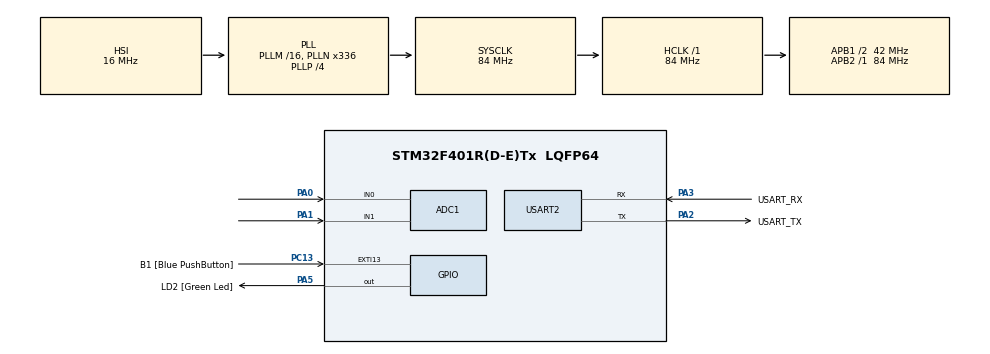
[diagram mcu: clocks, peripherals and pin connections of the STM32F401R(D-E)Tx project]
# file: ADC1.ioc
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ADC1.Channel-3\#ChannelRegularConversion=ADC_CHANNEL_0
ADC1.Channel-4\#ChannelRegularConversion=ADC_CHANNEL_1
ADC1.NbrOfConversion=2
ADC1.NbrOfConversionFlag=1
ADC1.Rank-3\#ChannelRegularConversion=1
ADC1.Rank-4\#ChannelRegularConversion=2
ADC1.SamplingTime-3\#ChannelRegularConversion=ADC_SAMPLETIME_3CYCLES
ADC1.SamplingTime-4\#ChannelRegularConversion=ADC_SAMPLETIME_3CYCLES
ADC1.master=1
Mcu.Family=STM32F4
Mcu.Name=STM32F401R(D-E)Tx
Mcu.Package=LQFP64
NVIC.PriorityGroup=NVIC_PRIORITYGROUP_0
NVIC.TIM2_IRQn=true\:0\:0\:false\:false\:true\:true\:true\:true
PA0-WKUP.Signal=ADCx_IN0
PA1.Signal=ADCx_IN1
PA13.GPIO_Label=TMS
PA13.Signal=SYS_JTMS-SWDIO
PA14.GPIO_Label=TCK
PA14.Signal=SYS_JTCK-SWCLK
PA2.GPIO_Label=USART_TX
PA2.GPIO_Mode=GPIO_MODE_AF_PP
PA2.GPIO_PuPd=GPIO_NOPULL
PA2.GPIO_Speed=GPIO_SPEED_FREQ_LOW
PA2.Mode=Asynchronous
PA2.Signal=USART2_TX
PA3.GPIO_Label=USART_RX
PA3.GPIO_Mode=GPIO_MODE_AF_PP
PA3.GPIO_PuPd=GPIO_NOPULL
PA3.GPIO_Speed=GPIO_SPEED_FREQ_LOW
PA3.Mode=Asynchronous
PA3.Signal=USART2_RX
PA5.GPIO_Label=LD2 [Green Led]
PA5.GPIO_Mode=GPIO_MODE_OUTPUT_PP
PA5.GPIO_PuPd=GPIO_NOPULL
PA5.GPIO_Speed=GPIO_SPEED_FREQ_LOW
PA5.Signal=GPIO_Output
PA7.Signal=ADCx_IN7
PB3.GPIO_Label=SWO
PB3.Signal=SYS_JTDO-SWO
PC13-ANTI_TAMP.GPIO_Label=B1 [Blue PushButton]
PC13-ANTI_TAMP.GPIO_ModeDefaultEXTI=GPIO_MODE_IT_FALLING
PC13-ANTI_TAMP.GPIO_PuPd=GPIO_NOPULL
PC13-ANTI_TAMP.Signal=GPXTI13
PC14-OSC32_IN.Mode=LSE-External-Oscillator
PC14-OSC32_IN.Signal=RCC_OSC32_IN
PC15-OSC32_OUT.Mode=LSE-External-Oscillator
PC15-OSC32_OUT.Signal=RCC_OSC32_OUT
PC4.Signal=ADCx_IN14
PH0\ -\ OSC_IN.Mode=HSE-External-Oscillator
PH0\ -\ OSC_IN.Signal=RCC_OSC_IN
PH1\ -\ OSC_OUT.Mode=HSE-External-Oscillator
PH1\ -\ OSC_OUT.Signal=RCC_OSC_OUT
ProjectManager.HeapSize=0x800
ProjectManager.StackSize=0x800
ProjectManager.TargetToolchain=STM32CubeIDE
RCC.AHBFreq_Value=84000000
RCC.APB1CLKDivider=RCC_HCLK_DIV2
RCC.APB1Freq_Value=42000000
RCC.APB1TimFreq_Value=84000000
RCC.APB2Freq_Value=84000000
RCC.APB2TimFreq_Value=84000000
RCC.CortexFreq_Value=84000000
RCC.HCLKFreq_Value=84000000
RCC.HSE_VALUE=8000000
RCC.HSI_VALUE=16000000
RCC.PLLN=336
RCC.PLLP=RCC_PLLP_DIV4
RCC.PLLQ=7
RCC.SYSCLKFreq_VALUE=84000000
RCC.SYSCLKSource=RCC_SYSCLKSOURCE_PLLCLK
RCC.VCOOutputFreq_Value=336000000
SH.ADCx_IN0.0=ADC1_IN0,IN0
SH.ADCx_IN1.0=ADC1_IN1,IN1
SH.ADCx_IN14.0=ADC1_IN14
SH.ADCx_IN7.0=ADC1_IN7
STMicroelectronics.X-CUBE-AI.9.0.0.ActivationBufferSizeList=3248
STMicroelectronics.X-CUBE-AI.9.0.0.ActivationBuffers=pool0
STMicroelectronics.X-CUBE-AI.9.0.0.ActivationNames=pool0
STMicroelectronics.X-CUBE-AI.9.0.0.ActivationSizes=AI_NETWORK_DATA_ACTIVATION_1_SIZE
STMicroelectronics.X-CUBE-AI.9.0.0.ApplicationCcDeviceJjApplication=ApplicationTemplate
STMicroelectronics.X-CUBE-AI.9.0.0.HeapSize=0x800
STMicroelectronics.X-CUBE-AI.9.0.0.InternalRamActivationBufferMaxSize=AI_NETWORK_DATA_ACTIVATIONS_SIZE
STMicroelectronics.X-CUBE-AI.9.0.0.LatestDirectoryUsed-1c9fd46893779840c356a048ed1474132c672592979c30f187648ef88671feb3=C\:\\Users\\aless\\Downloads
STMicroelectronics.X-CUBE-AI.9.0.0.MaximumNumberOfInputLayer=1
STMicroelectronics.X-CUBE-AI.9.0.0.MaximumNumberOfOutputLayer=1
STMicroelectronics.X-CUBE-AI.9.0.0.MaximumSizeOfInputLayer=1
STMicroelectronics.X-CUBE-AI.9.0.0.MaximumSizeOfOutputLayer=1
STMicroelectronics.X-CUBE-AI.9.0.0.ModelActualCompression-1c9fd46893779840c356a048ed1474132c672592979c30f187648ef88671feb3=0.0
STMicroelectronics.X-CUBE-AI.9.0.0.ModelCompression-1c9fd46893779840c356a048ed1474132c672592979c30f187648ef88671feb3=None
STMicroelectronics.X-CUBE-AI.9.0.0.ModelFlashOccupation-1c9fd46893779840c356a048ed1474132c672592979c30f187648ef88671feb3=81668
STMicroelectronics.X-CUBE-AI.9.0.0.ModelHashList=1c9fd46893779840c356a048ed1474132c672592979c30f187648ef88671feb3
STMicroelectronics.X-CUBE-AI.9.0.0.ModelKind-1c9fd46893779840c356a048ed1474132c672592979c30f187648ef88671feb3=KERAS
STMicroelectronics.X-CUBE-AI.9.0.0.ModelMacc-1c9fd46893779840c356a048ed1474132c672592979c30f187648ef88671feb3=20555
STMicroelectronics.X-CUBE-AI.9.0.0.ModelName-1c9fd46893779840c356a048ed1474132c672592979c30f187648ef88671feb3=network
STMicroelectronics.X-CUBE-AI.9.0.0.ModelNameList=network
STMicroelectronics.X-CUBE-AI.9.0.0.ModelRamOccupation-1c9fd46893779840c356a048ed1474132c672592979c30f187648ef88671feb3=1264
STMicroelectronics.X-CUBE-AI.9.0.0.ModelStructureFile-1c9fd46893779840c356a048ed1474132c672592979c30f187648ef88671feb3=C\:\\Users\\aless\\Downloads\\modelR.h5
STMicroelectronics.X-CUBE-AI.9.0.0.ModelType-1c9fd46893779840c356a048ed1474132c672592979c30f187648ef88671feb3=STM32Cube.AI MCU runtime
STMicroelectronics.X-CUBE-AI.9.0.0.ReadyForCodeGeneration=true
STMicroelectronics.X-CUBE-AI.9.0.0.StackSize=0x800
STMicroelectronics.X-CUBE-AI.9.0.0.WorkingBufferStartAddrList=0xFFFFFFFF
STMicroelectronics.X-CUBE-AI.9.0.0.XAaCUBEAaAICcArtificialOoIntelligenceJjCore=true
STMicroelectronics.X-CUBE-AI.9.0.0.copyWeightToRam-1c9fd46893779840c356a048ed1474132c672592979c30f187648ef88671feb3=false
STMicroelectronics.X-CUBE-AI.9.0.0.customLayerConfigEnabled-1c9fd46893779840c356a048ed1474132c672592979c30f187648ef88671feb3=false
STMicroelectronics.X-CUBE-AI.9.0.0.noOnnxIoTranspose-1c9fd46893779840c356a048ed1474132c672592979c30f187648ef88671feb3=false
STMicroelectronics.X-CUBE-AI.9.0.0.useInputAllocation-1c9fd46893779840c356a048ed1474132c672592979c30f187648ef88671feb3=true
STMicroelectronics.X-CUBE-AI.9.0.0.useOutputAllocation-1c9fd46893779840c356a048ed1474132c672592979c30f187648ef88671feb3=true
TIM2.Prescaler=999
USART2.VirtualMode=VM_ASYNC
VP_STMicroelectronics.X-CUBE-AI_VS_ArtificialOoIntelligenceJjXAaCUBEAaAI_9.0.0.Mode=ArtificialOoIntelligenceJjXAaCUBEAaAI
VP_STMicroelectronics.X-CUBE-AI_VS_DeviceJjApplication_9.0.0.Mode=DeviceJjApplication
VP_TIM2_VS_ClockSourceINT.Mode=Internal
board=NUCLEO-F401RE

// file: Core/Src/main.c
/* USER CODE BEGIN Header */
/**
  ******************************************************************************
  * @file           : main.c
  * @brief          : Main program body
  ******************************************************************************
  * @attention
  *
  * Copyright (c) 2024 STMicroelectronics.
  * All rights reserved.
  *
  * This software is licensed under terms that can be found in the LICENSE file
  * in the root directory of this software component.
  * If no LICENSE file comes with this software, it is provided AS-IS.
  *
  ******************************************************************************
  */
/* USER CODE END Header */
#include "main.h"
#include "app_x-cube-ai.h"
#include <math.h> // Per funzioni matematiche come log()

/* USER CODE BEGIN Includes */
#define DATA_SIZE 974 // Dimensione dell'array dei dati
#define UART_TIMEOUT 1000  // Timeout per la trasmissione UART

float mean3[974]={};
float mean5[974]={};
float diff[974]={};
float loggg[974]={};
float mean3_1[974]={};
float mean5_1[974]={};
float diff_1[974]={};
float loggg_1[974]={};
float calculateSkewness(uint16_t data[], int size, float mean, float stddev);
float calculateKurtosis(uint16_t data[], int size, float mean, float stddev);
int v;
/* USER CODE END Includes */

/* USER CODE BEGIN PM */
// Funzione per calcolare la skewness
float calculateSkewness(uint16_t data[], int size, float mean, float stddev)
{
    float skew = 0.0;
    for (int i = 0; i < size; ++i)
    {
        skew += pow((data[i] - mean) / stddev, 3);
    }
    return skew / size;
}

// Funzione per calcolare la kurtosis
float calculateKurtosis(uint16_t data[], int size, float mean, float stddev)
{
    float kurt = 0.0;
    for (int i = 0; i < size; ++i)
    {
        kurt += pow((data[i] - mean) / stddev, 4);
    }
    return kurt / size;
}
void calculateMovingAverage(uint16_t data[], int size, int window, float result[])
{
    for (int i = 0; i < size; ++i)
    {
        if (i < window - 1)
        {
            result[i] = 0.0;  // Valori iniziali non calcolabili
        }
        else
        {
            float sum = 0.0;
            for (int j = i - window + 1; j <= i; ++j)
            {
                sum += data[j];
            }
            result[i] = sum / window;
        }
    }
}

// Funzione per calcolare le differenze
void calculateDifference(uint16_t data[], int size, float result[])
{
    result[0] = 0.0;  // Prima differenza non calcolabile
    for (int i = 1; i < size; ++i)
    {
        result[i] = data[i] - data[i - 1];
    }
}

// Funzione per calcolare la trasformazione logaritmica
void calculateLogTransformation(uint16_t data[], int size, float result[])
{
    for (int i = 0; i < size; ++i)
    {
        if (data[i] > 0)
        {
            result[i] = log(data[i]);
        }
        else
        {
            result[i] = 0.0;  // Gestione dei valori non positivi
        }
    }
}

/* USER CODE END PM */

ADC_HandleTypeDef hadc1;

TIM_HandleTypeDef htim2;

UART_HandleTypeDef huart2;

void SystemClock_Config(void);
static void MX_GPIO_Init(void);
static void MX_ADC1_Init(void);
static void MX_USART2_UART_Init(void);
static void MX_TIM2_Init(void);

int main(void)
{
  /* USER CODE BEGIN 1 */

uint8_t buffertx[5];
uint8_t buffertx2[6];
uint8_t buffertx3[4];
//unsigned int uiAnalogData=0;
unsigned int PPG_Value=0;
/*
int cont=0;
int c=0;
int tempo=0;
float tempo1=0;
int BPM=0;
*/
uint16_t uiAnalogData[DATA_SIZE]; // Array per memorizzare i dati
    // Altre variabili necessarie
	float sum, mean, variance, stddev, skewness, kurtosis;
    uint16_t min = UINT16_MAX, max = 0;
    // Array per le nuove feature
        float movingAvg3[DATA_SIZE], movingAvg5[DATA_SIZE];
        float differences[DATA_SIZE], logTransformed[DATA_SIZE];

        int dataCount = 0;  // Contatore per tracciare i dati inseriti

  /* USER CODE END 1 */

  /* MCU Configuration--------------------------------------------------------*/

  /* Reset of all peripherals, Initializes the Flash interface and the Systick. */
  HAL_Init();

  /* Configure the system clock */
  SystemClock_Config();

  /* Initialize all configured peripherals */
  MX_GPIO_Init();
  MX_ADC1_Init();
  MX_USART2_UART_Init();
  MX_TIM2_Init();
  MX_X_CUBE_AI_Init();
  /* USER CODE BEGIN 2 */
  HAL_TIM_Base_Start_IT(&htim2);
  /* USER CODE END 2 */

  /* Infinite loop */
  while (1)
  {

 // MX_X_CUBE_AI_Process();
    /* USER CODE BEGIN 3 */

	  sum = 0.0;  // Reinizializza la somma
	  variance = 0.0;  // Reinizializza la varianza

	  while (dataCount < DATA_SIZE)
	     {
	  	HAL_ADC_Start(&hadc1);
	  	HAL_ADC_PollForConversion(&hadc1,1000);
	  	HAL_ADC_ConfigChannel(&hadc1, 0);
	  	uiAnalogData[dataCount]=HAL_ADC_GetValue(&hadc1);
	  	HAL_ADC_Stop(&hadc1);
	  	// Aggiornamento minimo e massimo
	  	if (uiAnalogData[dataCount] < min) min = uiAnalogData[dataCount];
	  	if (uiAnalogData[dataCount] > max) max = uiAnalogData[dataCount];
	  	sum += uiAnalogData[dataCount];
	    dataCount++;
	    HAL_Delay(100);
	      }
/*
	  HAL_ADC_Start(&hadc1);
	  HAL_ADC_ConfigChannel(&hadc1, 1);
	  PPG_Value = HAL_ADC_GetValue(&hadc1);
	  HAL_ADC_Stop(&hadc1);
*/

	  // Calcoli solo se l'array è pieno
	      if (dataCount == DATA_SIZE){

	    	  /*
	  // Calcolo della media GSR
	  mean = sum / DATA_SIZE;
	  // Calcolo della varianza  GSR
	  for (int i = 0; i < DATA_SIZE; ++i)
	          {
	          variance += pow(uiAnalogData[i] - mean, 2);
	          }
	          variance /= DATA_SIZE;

	          // Calcolo della deviazione standard GSR
	   stddev = sqrt(variance);

	          // Calcolo skewness e kurtosis GSR
	    skewness = calculateSkewness(uiAnalogData, DATA_SIZE, mean, stddev);
	    kurtosis = calculateKurtosis(uiAnalogData, DATA_SIZE, mean, stddev);
	    */
	    // Calcolo delle nuove feature
	          mean3_1=calculateMovingAverage(uiAnalogData, DATA_SIZE, 3, movingAvg3);
	           mean5_1= calculateMovingAverage(uiAnalogData, DATA_SIZE, 5, movingAvg5);
	            diff_1=calculateDifference(uiAnalogData, DATA_SIZE, differences);
	            loggg_1=calculateLogTransformation(uiAnalogData, DATA_SIZE, logTransformed);
	            /*

	            char buffer[100];  // Buffer per la trasmissione UART
	           	            int len = sprintf(buffer, "Mean: %.2f\r\n", mean);
	           	            HAL_UART_Transmit(&huart2, (uint8_t *)buffer, len, UART_TIMEOUT);
	           	            len = sprintf(buffer, "Standard Deviation: %.2f\r\n", stddev);
	           	            HAL_UART_Transmit(&huart2, (uint8_t *)buffer, len, UART_TIMEOUT);
	           	            len = sprintf(buffer, "Minimum: %u\r\n", min);
	           	            HAL_UART_Transmit(&huart2, (uint8_t *)buffer, len, UART_TIMEOUT);
	           	            len = sprintf(buffer, "Maximum: %u\r\n", max);
	           	            HAL_UART_Transmit(&huart2, (uint8_t *)buffer, len, UART_TIMEOUT);
	           	            len = sprintf(buffer, "Skewness: %.2f\r\n", skewness);
	           	            HAL_UART_Transmit(&huart2, (uint8_t *)buffer, len, UART_TIMEOUT);
	           	            len = sprintf(buffer, "Kurtosis: %.2f\r\n", kurtosis);
	           	            HAL_UART_Transmit(&huart2, (uint8_t *)buffer, len, UART_TIMEOUT);
	           	            len = sprintf(buffer, "Moving Average (3): %.2f\r\n", movingAvg3[DATA_SIZE-1]);
	           				HAL_UART_Transmit(&huart2, (uint8_t *)buffer, len, UART_TIMEOUT);
	           				len = sprintf(buffer, "Moving Average (5): %.2f\r\n", movingAvg5[DATA_SIZE-1]);
	           				HAL_UART_Transmit(&huart2, (uint8_t *)buffer, len, UART_TIMEOUT);
	           				len = sprintf(buffer, "Difference: %.2f\r\n", differences[DATA_SIZE-1]);
	           				HAL_UART_Transmit(&huart2, (uint8_t *)buffer, len, UART_TIMEOUT);
	           				len = sprintf(buffer, "Log Transformed: %.2f\r\n", logTransformed[DATA_SIZE-1]);
	           				HAL_UART_Transmit(&huart2, (uint8_t *)buffer, len, UART_TIMEOUT);
	           				*/
	            for (int i=0; i<974; i++){
	            	mean3[i]=((float)mean3_1[i]);
	            			mean5[i]=((float)mean5_1[i]);
	            			diff[i]=((float)diff_1[i]);
	            			loggg[i]=((float)loggg_1[i]);

	            }

	            HAL_TIM_Base_Stop_IT(&htim2);
	            		sprintf(buffertx, "Acquisizione dati sensori effettuata\n\r");
	            		HAL_UART_Transmit(&huart2, buffertx, strlen(buffertx), 100);

	            		ai_u8 activations[AI_NETWORK_DATA_ACTIVATIONS_SIZE];
	            		ai_u8 in_data[AI_NETWORK_IN_1_SIZE_BYTES];
	            		ai_u8 out_data[AI_NETWORK_OUT_1_SIZE_BYTES];

	            		ai_buffer *ai_input;
	            		ai_buffer *ai_output;

	            		ai_handle network = AI_HANDLE_NULL;
	            		ai_error err;
	            		ai_network_report report;

	            		const ai_handle acts[] = { activations };
	            		err = ai_network_create_and_init(&network, acts, NULL);
	            		if (err.type != AI_ERROR_NONE) {
	            			sprintf(buffertx, "ai init_and_create error\n");
	            			HAL_UART_Transmit(&huart2, buffertx, strlen(buffertx), 100);
	            		}
	            		if (ai_network_get_report(network, &report) != true) {
	            			sprintf(buffertx, "ai get report error\n");
	            			HAL_UART_Transmit(&huart2, buffertx, strlen(buffertx), 100);
	            		}

	            		ai_input = &report.inputs[0];
	            		ai_output = &report.outputs[0];

	            		for (int j = 0; j <974; j++) {

	            			((ai_float *)in_data)[0][j] = mean3[i];
	            			((ai_float *)in_data)[1][j] = mean5[i];
	            			((ai_float *)in_data)[2][j] = diff[i];
	            			((ai_float *)in_data)[3][j] = loggg[i];
	            		}

	            		ai_i32 n_batch;

	            		ai_input = ai_network_inputs_get(network, NULL);
	            		ai_output = ai_network_outputs_get(network, NULL);

	            		ai_input[0].data = AI_HANDLE_PTR(in_data);
	            		ai_output[0].data = AI_HANDLE_PTR(out_data);

	            		n_batch = ai_network_run(network, &ai_input[0], &ai_output[0]);

	            		if (n_batch != 1) {
	            			err = ai_network_get_error(network);
	            			sprintf(buffertx, "ai run error %d, %d\n", err.type, err.code);
	            			HAL_UART_Transmit(&huart2, buffertx, strlen(buffertx), 100);
	            		}
	            		float f[4];

	            				char a[] = { ((char *)out_data)[0], ((char *)out_data)[1], ((char *)out_data)[2], ((char *)out_data)[3] };
	            				char b[] = { ((char *)out_data)[4], ((char *)out_data)[5], ((char *)out_data)[6], ((char *)out_data)[7] };
	            				char c[] = { ((char *)out_data)[8], ((char *)out_data)[9], ((char *)out_data)[10], ((char *)out_data)[11] };

	            				memcpy(&f[0], &a, sizeof(f[0]));
	            				memcpy(&f[1], &b, sizeof(f[1]));
	            				memcpy(&f[2], &c, sizeof(f[2]));

	            				int m=0;
	            				float media=0;
	            				int sum=0;
	            				int cont1 = 0;
	            				v=max(f, sizeof(f));
	            				v=roundf(media);
	            							if(v==0){
	            								sprintf(buffertx, " 0\n\r");
	            							}
	            							if(v==1){
	            								sprintf(buffertx, " 1\n\r");
	            							}
	            							if(v==2){
	            								sprintf(buffertx, " 2\n\r");
	            							}

	            							HAL_UART_Transmit(&huart2, buffertx, strlen(buffertx), 100);

	           				//memset(uiAnalogData, 0, sizeof(uiAnalogData)); //svuota l'array
	           				dataCount=0;//resetta data count
	           				min = UINT16_MAX;
	           				max = 0;

	      }

	    /* Questo nel momento che dobbiamo trasmattere il segnale sulla seriale
		sprintf(buffertx,"%lu\t",uiAnalogData);// prima c'era %Lu
		HAL_UART_Transmit(&huart2,buffertx,sizeof(buffertx), 1000);
		sprintf(buffertx2,"%lu\r\n", 3*PPG_Value);
		HAL_UART_Transmit(&huart2,buffertx2,sizeof(buffertx2), 1000);
		*/

	  	//HAL_Delay(10);
  }
  /* USER CODE END 3 */
}

void SystemClock_Config(void)
{
  RCC_OscInitTypeDef RCC_OscInitStruct = {0};
  RCC_ClkInitTypeDef RCC_ClkInitStruct = {0};

  /** Configure the main internal regulator output voltage
  */
  __HAL_RCC_PWR_CLK_ENABLE();
  __HAL_PWR_VOLTAGESCALING_CONFIG(PWR_REGULATOR_VOLTAGE_SCALE2);

  /** Initializes the RCC Oscillators according to the specified parameters
  * in the RCC_OscInitTypeDef structure.
  */
  RCC_OscInitStruct.OscillatorType = RCC_OSCILLATORTYPE_HSI;
  RCC_OscInitStruct.HSIState = RCC_HSI_ON;
  RCC_OscInitStruct.HSICalibrationValue = RCC_HSICALIBRATION_DEFAULT;
  RCC_OscInitStruct.PLL.PLLState = RCC_PLL_ON;
  RCC_OscInitStruct.PLL.PLLSource = RCC_PLLSOURCE_HSI;
  RCC_OscInitStruct.PLL.PLLM = 16;
  RCC_OscInitStruct.PLL.PLLN = 336;
  RCC_OscInitStruct.PLL.PLLP = RCC_PLLP_DIV4;
  RCC_OscInitStruct.PLL.PLLQ = 7;
  if (HAL_RCC_OscConfig(&RCC_OscInitStruct) != HAL_OK)
  {
    Error_Handler();
  }

  /** Initializes the CPU, AHB and APB buses clocks
  */
  RCC_ClkInitStruct.ClockType = RCC_CLOCKTYPE_HCLK|RCC_CLOCKTYPE_SYSCLK
                              |RCC_CLOCKTYPE_PCLK1|RCC_CLOCKTYPE_PCLK2;
  RCC_ClkInitStruct.SYSCLKSource = RCC_SYSCLKSOURCE_PLLCLK;
  RCC_ClkInitStruct.AHBCLKDivider = RCC_SYSCLK_DIV1;
  RCC_ClkInitStruct.APB1CLKDivider = RCC_HCLK_DIV2;
  RCC_ClkInitStruct.APB2CLKDivider = RCC_HCLK_DIV1;

  if (HAL_RCC_ClockConfig(&RCC_ClkInitStruct, FLASH_LATENCY_2) != HAL_OK)
  {
    Error_Handler();
  }
}

static void MX_ADC1_Init(void)
{

  ADC_ChannelConfTypeDef sConfig = {0};

  /** Configure the global features of the ADC (Clock, Resolution, Data Alignment and number of conversion)
  */
  hadc1.Instance = ADC1;
  hadc1.Init.ClockPrescaler = ADC_CLOCK_SYNC_PCLK_DIV4;
  hadc1.Init.Resolution = ADC_RESOLUTION_12B;
  hadc1.Init.ScanConvMode = ENABLE;
  hadc1.Init.ContinuousConvMode = DISABLE;
  hadc1.Init.DiscontinuousConvMode = DISABLE;
  hadc1.Init.ExternalTrigConvEdge = ADC_EXTERNALTRIGCONVEDGE_NONE;
  hadc1.Init.ExternalTrigConv = ADC_SOFTWARE_START;
  hadc1.Init.DataAlign = ADC_DATAALIGN_RIGHT;
  hadc1.Init.NbrOfConversion = 2;
  hadc1.Init.DMAContinuousRequests = DISABLE;
  hadc1.Init.EOCSelection = ADC_EOC_SINGLE_CONV;
  if (HAL_ADC_Init(&hadc1) != HAL_OK)
  {
    Error_Handler();
  }

  /** Configure for the selected ADC regular channel its corresponding rank in the sequencer and its sample time.
  */
  sConfig.Channel = ADC_CHANNEL_0;
  sConfig.Rank = 1;
  sConfig.SamplingTime = ADC_SAMPLETIME_3CYCLES;
  if (HAL_ADC_ConfigChannel(&hadc1, &sConfig) != HAL_OK)
  {
    Error_Handler();
  }

  /** Configure for the selected ADC regular channel its corresponding rank in the sequencer and its sample time.
  */
  sConfig.Channel = ADC_CHANNEL_1;
  sConfig.Rank = 2;
  if (HAL_ADC_ConfigChannel(&hadc1, &sConfig) != HAL_OK)
  {
    Error_Handler();
  }

}

static void MX_TIM2_Init(void)
{

  TIM_ClockConfigTypeDef sClockSourceConfig = {0};
  TIM_MasterConfigTypeDef sMasterConfig = {0};

  htim2.Instance = TIM2;
  htim2.Init.Prescaler = 999;
  htim2.Init.CounterMode = TIM_COUNTERMODE_UP;
  htim2.Init.Period = 4294967295;
  htim2.Init.ClockDivision = TIM_CLOCKDIVISION_DIV1;
  htim2.Init.AutoReloadPreload = TIM_AUTORELOAD_PRELOAD_DISABLE;
  if (HAL_TIM_Base_Init(&htim2) != HAL_OK)
  {
    Error_Handler();
  }
  sClockSourceConfig.ClockSource = TIM_CLOCKSOURCE_INTERNAL;
  if (HAL_TIM_ConfigClockSource(&htim2, &sClockSourceConfig) != HAL_OK)
  {
    Error_Handler();
  }
  sMasterConfig.MasterOutputTrigger = TIM_TRGO_RESET;
  sMasterConfig.MasterSlaveMode = TIM_MASTERSLAVEMODE_DISABLE;
  if (HAL_TIMEx_MasterConfigSynchronization(&htim2, &sMasterConfig) != HAL_OK)
  {
    Error_Handler();
  }

}

static void MX_USART2_UART_Init(void)
{

  huart2.Instance = USART2;
  huart2.Init.BaudRate = 115200;
  huart2.Init.WordLength = UART_WORDLENGTH_8B;
  huart2.Init.StopBits = UART_STOPBITS_1;
  huart2.Init.Parity = UART_PARITY_NONE;
  huart2.Init.Mode = UART_MODE_TX_RX;
  huart2.Init.HwFlowCtl = UART_HWCONTROL_NONE;
  huart2.Init.OverSampling = UART_OVERSAMPLING_16;
  if (HAL_UART_Init(&huart2) != HAL_OK)
  {
    Error_Handler();
  }

}

static void MX_GPIO_Init(void)
{
  GPIO_InitTypeDef GPIO_InitStruct = {0};

  /* GPIO Ports Clock Enable */
  __HAL_RCC_GPIOC_CLK_ENABLE();
  __HAL_RCC_GPIOH_CLK_ENABLE();
  __HAL_RCC_GPIOA_CLK_ENABLE();
  __HAL_RCC_GPIOB_CLK_ENABLE();

  /*Configure GPIO pin Output Level */
  HAL_GPIO_WritePin(LD2_GPIO_Port, LD2_Pin, GPIO_PIN_RESET);

  /*Configure GPIO pin : B1_Pin */
  GPIO_InitStruct.Pin = B1_Pin;
  GPIO_InitStruct.Mode = GPIO_MODE_IT_FALLING;
  GPIO_InitStruct.Pull = GPIO_NOPULL;
  HAL_GPIO_Init(B1_GPIO_Port, &GPIO_InitStruct);

  /*Configure GPIO pin : LD2_Pin */
  GPIO_InitStruct.Pin = LD2_Pin;
  GPIO_InitStruct.Mode = GPIO_MODE_OUTPUT_PP;
  GPIO_InitStruct.Pull = GPIO_NOPULL;
  GPIO_InitStruct.Speed = GPIO_SPEED_FREQ_LOW;
  HAL_GPIO_Init(LD2_GPIO_Port, &GPIO_InitStruct);

}

void Error_Handler(void)
{
  __disable_irq();
  while (1)
  {
  }
}
